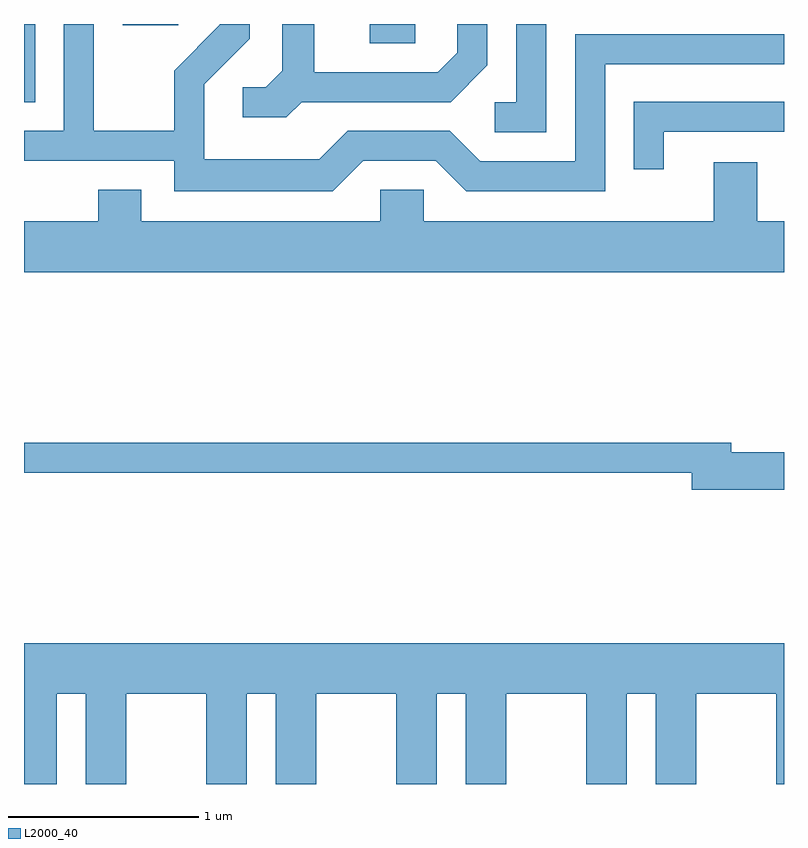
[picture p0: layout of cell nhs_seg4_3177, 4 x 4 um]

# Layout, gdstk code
import gdstk
lib = gdstk.Library(unit=1e-6, precision=1e-09)
def R(c, l, rs):  # rectangles x0, y0, x1, y1
    for r in rs: c.add(gdstk.rectangle(r[:2], r[2:], *l))
def P(c, l, *ps):  # polygons
    for p in ps: c.add(gdstk.Polygon(p, *l))
L2000_40 = (2000, 40)

nhs_seg4_3177 = lib.new_cell('nhs_seg4_3177')
R(nhs_seg4_3177, L2000_40, [(277.611,1355.571,277.669,1355.982), (279.431,1355.881,279.669,1355.982), (278.131,1355.976,278.424,1355.982)])
P(nhs_seg4_3177, L2000_40, [(279.397,1355.261),(279.779,1355.261),(279.939,1355.101),(280.669,1355.101),(280.669,1355.771),(281.611,1355.771),(281.611,1355.929),(280.511,1355.929),(280.511,1355.259),(280.012,1355.259),(279.852,1355.419),(279.314,1355.419),(279.164,1355.269),(278.559,1355.269),(278.559,1355.664),(278.799,1355.904),(278.799,1355.982),(278.641,1355.982),(278.641,1355.977),(278.401,1355.737),(278.401,1355.419),(277.979,1355.419),(277.979,1355.982),(277.821,1355.982),(277.821,1355.419),(277.611,1355.419),(277.611,1355.261),(278.401,1355.261),(278.401,1355.101),(279.237,1355.101)],
  [(280.359,1355.982),(280.201,1355.982),(280.201,1355.569),(280.088,1355.569),(280.088,1355.411),(280.359,1355.411)],
  [(279.072,1355.571),(279.857,1355.571),(280.049,1355.764),(280.049,1355.982),(279.891,1355.982),(279.891,1355.832),(279.789,1355.729),(279.139,1355.729),(279.139,1355.982),(278.971,1355.982),(278.971,1355.737),(278.884,1355.649),(278.763,1355.649),(278.763,1355.491),(278.992,1355.491)],
  [(280.979,1355.416),(281.611,1355.416),(281.611,1355.574),(280.821,1355.574),(280.821,1355.218),(280.979,1355.218)],
  [(281.611,1354.944),(281.469,1354.944),(281.469,1355.254),(281.241,1355.254),(281.241,1354.944),(279.714,1354.944),(279.714,1355.109),(279.486,1355.109),(279.486,1354.944),(278.229,1354.944),(278.229,1355.109),(278.001,1355.109),(278.001,1354.944),(277.611,1354.944),(277.611,1354.676),(281.611,1354.676)],
  [(281.611,1353.729),(281.334,1353.729),(281.334,1353.779),(277.611,1353.779),(277.611,1353.621),(281.126,1353.621),(281.126,1353.531),(281.611,1353.531)],
  [(277.784,1352.456),(277.936,1352.456),(277.936,1351.982),(278.149,1351.982),(278.149,1352.456),(278.571,1352.456),(278.571,1351.982),(278.784,1351.982),(278.784,1352.456),(278.936,1352.456),(278.936,1351.982),(279.149,1351.982),(279.149,1352.456),(279.571,1352.456),(279.571,1351.982),(279.784,1351.982),(279.784,1352.456),(279.936,1352.456),(279.936,1351.982),(280.149,1351.982),(280.149,1352.456),(280.571,1352.456),(280.571,1351.982),(280.784,1351.982),(280.784,1352.456),(280.936,1352.456),(280.936,1351.982),(281.149,1351.982),(281.149,1352.456),(281.571,1352.456),(281.571,1351.982),(281.611,1351.982),(281.611,1352.724),(277.611,1352.724),(277.611,1351.982),(277.784,1351.982)])

lib.write_gds('nhs_seg4_3177.gds')
